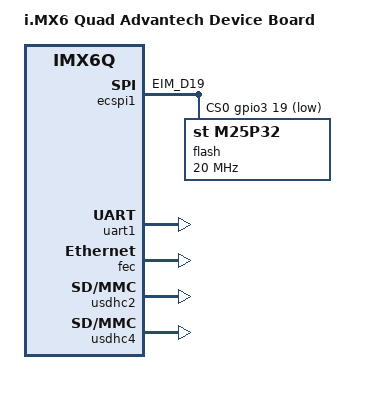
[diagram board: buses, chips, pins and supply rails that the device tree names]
// SPDX-License-Identifier: GPL-2.0+
//
// Copyright 2012 Freescale Semiconductor, Inc.
// Copyright 2011 Linaro Ltd.

/dts-v1/;

#include "imx6q.dtsi"
#include "imx6qdl-advantech.dtsi"

/ {
	model = "i.MX6 Quad Advantech Device Board";
	compatible = "fsl,imx6q-sabresd", "fsl,imx6q";
        aliases {
                mmc0 = &usdhc2;
                mmc1 = &usdhc4;
                mmc2;
                mmc3;
        };

};

&iomuxc {


	pinctrl_ecspi1_cs_0: ecspi1_cs_grp-0 {
		fsl,pins = <
			MX6QDL_PAD_EIM_D19__GPIO3_IO19		0x1b0b0
			>;
		};



};

&ecspi1 {
	fsl,spi-num-chipselects = <1>;
	cs-gpios = <&gpio3 19 GPIO_ACTIVE_LOW>;
	pinctrl-names = "default";
	pinctrl-0 = <&pinctrl_ecspi1_cs_0 &pinctrl_ecspi1>;
	status = "okay";

	flash: m25p80@0 {
		#address-cells = <1>;
		#size-cells = <1>;
		compatible = "st,m25p32", "jedec,spi-nor";
		spi-max-frequency = <20000000>;
		reg = <0>;
	};

};


&uart1 {
	status = "okay";
};

&fec {
	status = "okay";
};

&usdhc2 {
	status = "okay";
};

&usdhc4 {
	status = "okay";
};
